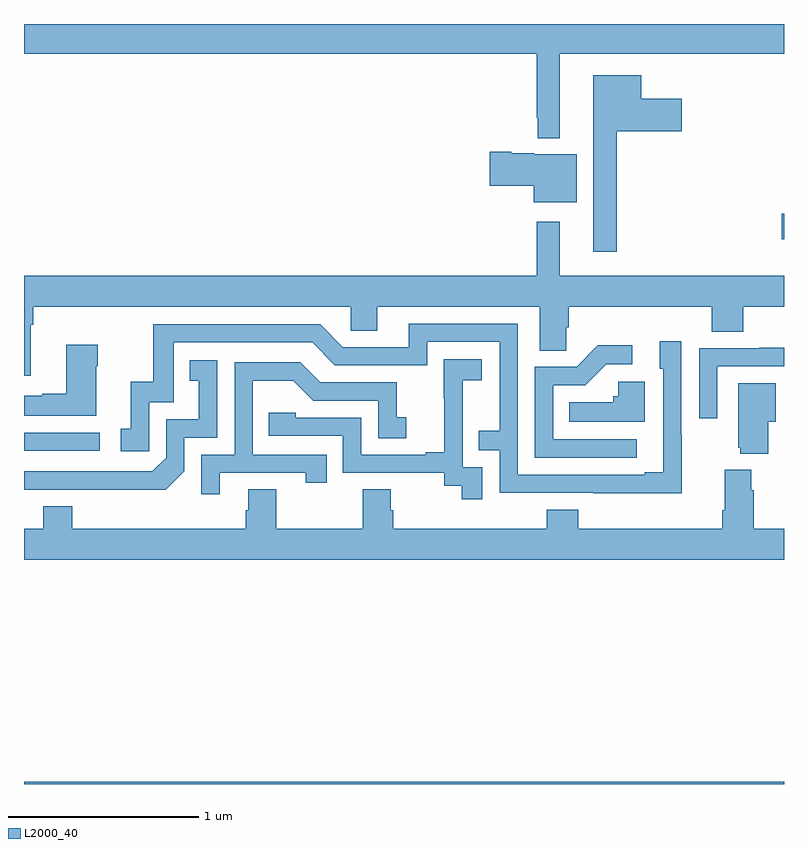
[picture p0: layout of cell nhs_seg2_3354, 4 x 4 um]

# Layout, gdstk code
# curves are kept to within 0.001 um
import gdstk
lib = gdstk.Library(unit=1e-6, precision=1e-09)
def R(c, l, rs):  # rectangles x0, y0, x1, y1
    for r in rs: c.add(gdstk.rectangle(r[:2], r[2:], *l))
def P(c, l, *ps):  # polygons
    for p in ps: c.add(gdstk.Polygon(p, *l))
L2000_40 = (2000, 40)

nhs_seg2_3354 = lib.new_cell('nhs_seg2_3354')
R(nhs_seg2_3354, L2000_40, [(287,635.8,291,635.812), (287,637.554,287.398,637.65), (290.988,638.666,291,638.801)])
P(nhs_seg2_3354, L2000_40, [(289.819,639.644),(291,639.644),(291,639.8),(287,639.8),(287,639.644),(289.698,639.644),(289.698,639.307),(289.705,639.307),(289.705,639.2),(289.819,639.2)],
  [(290.119,639.236),(290.461,639.236),(290.461,639.406),(290.248,639.406),(290.248,639.529),(289.997,639.529),(289.997,638.601),(290.119,638.601)],
  [(289.909,639.115),(289.686,639.115),(289.686,639.121),(289.564,639.121),(289.564,639.128),(289.452,639.128),(289.452,638.95),(289.682,638.95),(289.682,638.861),(289.909,638.861)],
  [(287.035,638.216),(287.048,638.216),(287.048,638.312),(288.72,638.312),(288.72,638.185),(288.859,638.185),(288.859,638.312),(289.715,638.312),(289.715,638.08),(289.854,638.08),(289.854,638.203),(289.868,638.203),(289.868,638.312),(290.621,638.312),(290.621,638.179),(290.786,638.179),(290.786,638.312),(291,638.312),(291,638.476),(289.819,638.476),(289.819,638.758),(289.698,638.758),(289.698,638.476),(287,638.476),(287,637.95),(287.035,637.95)],
  [(290.463,637.637),(290.46,637.637),(290.46,638.131),(290.345,638.131),(290.345,637.986),(290.364,637.986),(290.364,637.441),(290.267,637.441),(290.267,637.428),(289.599,637.428),(289.599,638.223),(289.025,638.223),(289.025,638.1),(288.678,638.1),(288.558,638.22),(287.679,638.22),(287.679,637.918),(287.561,637.918),(287.561,637.671),(287.508,637.671),(287.508,637.551),(287.658,637.551),(287.658,637.809),(287.787,637.809),(287.787,638.124),(288.516,638.124),(288.636,638.004),(289.122,638.004),(289.122,638.127),(289.503,638.127),(289.503,637.658),(289.393,637.658),(289.393,637.557),(289.503,637.557),(289.503,637.332),(290.463,637.331)],
  [(287.38,638),(287.388,638),(287.388,638.113),(287.222,638.113),(287.222,637.853),(287.096,637.853),(287.096,637.843),(287,637.843),(287,637.739),(287.38,637.739)],
  [(290.224,637.614),(289.785,637.614),(289.785,637.899),(289.954,637.899),(290.065,638.01),(290.2,638.01),(290.2,638.108),(290.021,638.108),(289.908,637.995),(289.689,637.995),(289.689,637.518),(290.224,637.518)],
  [(290.649,637.998),(291,637.998),(291,638.096),(290.869,638.096),(290.869,638.094),(290.553,638.094),(290.553,637.725),(290.649,637.725)],
  [(289.413,637.467),(289.308,637.467),(289.308,637.697),(289.31,637.697),(289.31,637.925),(289.408,637.925),(289.408,638.035),(289.21,638.035),(289.21,637.829),(289.211,637.829),(289.211,637.546),(289.115,637.546),(289.115,637.533),(288.774,637.533),(288.774,637.728),(288.429,637.728),(288.429,637.755),(288.289,637.755),(288.289,637.632),(288.678,637.632),(288.678,637.437),(289.212,637.437),(289.212,637.369),(289.305,637.369),(289.305,637.299),(289.413,637.299)],
  [(287.844,637.446),(287.844,637.623),(288.018,637.623),(288.018,638.029),(287.872,638.029),(287.872,637.923),(287.921,637.923),(287.921,637.719),(287.748,637.719),(287.748,637.518),(287.676,637.446),(287,637.446),(287,637.35),(287.746,637.349)],
  [(288.031,637.437),(288.482,637.437),(288.482,637.386),(288.593,637.386),(288.593,637.533),(288.204,637.533),(288.204,637.922),(288.418,637.922),(288.522,637.818),(288.864,637.818),(288.864,637.62),(289.012,637.62),(289.012,637.729),(288.963,637.729),(288.963,637.914),(288.559,637.914),(288.454,638.019),(288.108,638.019),(288.108,637.533),(287.934,637.533),(287.934,637.326),(288.031,637.326)],
  [(290.266,637.918),(290.127,637.918),(290.127,637.842),(290.101,637.842),(290.101,637.81),(289.87,637.81),(289.87,637.706),(290.266,637.706)],
  [(290.917,637.706),(290.956,637.706),(290.956,637.909),(290.759,637.909),(290.759,637.569),(290.771,637.569),(290.771,637.538),(290.917,637.538)],
  [(291,637.144),(290.84,637.144),(290.84,637.346),(290.827,637.346),(290.827,637.453),(290.687,637.453),(290.687,637.24),(290.675,637.24),(290.675,637.144),(289.916,637.144),(289.916,637.243),(289.751,637.243),(289.751,637.144),(288.944,637.144),(288.944,637.242),(288.931,637.242),(288.931,637.352),(288.784,637.352),(288.784,637.144),(288.327,637.144),(288.327,637.352),(288.179,637.352),(288.179,637.242),(288.167,637.242),(288.167,637.144),(287.255,637.144),(287.255,637.261),(287.102,637.261),(287.102,637.144),(287,637.144),(287,636.98),(291,636.98)])

lib.write_gds('nhs_seg2_3354.gds')
